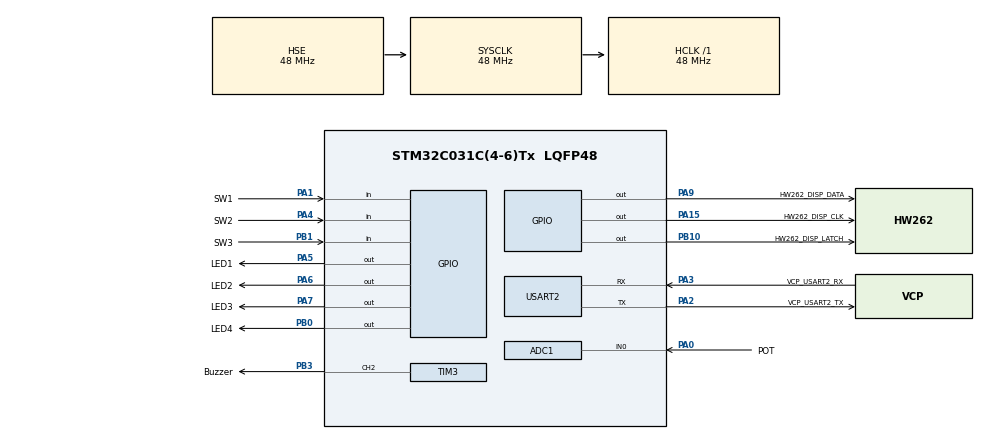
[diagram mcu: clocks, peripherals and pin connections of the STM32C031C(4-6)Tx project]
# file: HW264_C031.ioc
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ADC1.NbrOfConversionFlag=0
ADC1.SelectedChannel=ADC_CHANNEL_0
ADC1.master=1
Mcu.Family=STM32C0
Mcu.Name=STM32C031C(4-6)Tx
Mcu.Package=LQFP48
PA0.GPIO_Label=POT
PA0.Signal=SharedAnalog_PA0
PA1.GPIO_Label=SW1
PA1.Signal=GPIO_Input
PA13.GPIO_Label=DEBUG_SWDIO
PA13.Mode=Serial_Wire
PA13.Signal=DEBUG_SWDIO
PA14-BOOT0.GPIO_Label=DEBUG_SWCLK
PA14-BOOT0.Mode=Serial_Wire
PA14-BOOT0.Signal=DEBUG_SWCLK
PA15.GPIO_Label=HW262_DISP_CLK
PA15.Signal=GPIO_Output
PA2.GPIO_Label=VCP_USART2_TX
PA2.Mode=Asynchronous
PA2.Signal=USART2_TX
PA3.GPIO_Label=VCP_USART2_RX
PA3.Mode=Asynchronous
PA3.Signal=USART2_RX
PA4.GPIO_Label=SW2
PA4.Signal=GPIO_Input
PA5.GPIO_Label=LED1
PA5.PinState=GPIO_PIN_SET
PA5.Signal=GPIO_Output
PA6.GPIO_Label=LED2
PA6.PinState=GPIO_PIN_SET
PA6.Signal=GPIO_Output
PA7.GPIO_Label=LED3
PA7.PinState=GPIO_PIN_SET
PA7.Signal=GPIO_Output
PA9.GPIO_Label=HW262_DISP_DATA
PA9.Signal=GPIO_Output
PB0.GPIO_Label=LED4
PB0.PinState=GPIO_PIN_SET
PB0.Signal=GPIO_Output
PB1.GPIO_Label=SW3
PB1.Signal=GPIO_Input
PB10.GPIO_Label=HW262_DISP_LATCH
PB10.Signal=GPIO_Output
PB3.GPIO_Label=Buzzer
PB3.PinState=GPIO_PIN_SET
PB3.Signal=S_TIM3_CH2
PC14-OSCX_IN\ (PC14).GPIO_Label=RCC_OSCX_IN
PC14-OSCX_IN\ (PC14).Mode=LSE-External-Oscillator
PC14-OSCX_IN\ (PC14).Signal=RCC_OSCX_IN
PC15-OSCX_OUT\ (PC15).GPIO_Label=RCC_OSCX_OUT
PC15-OSCX_OUT\ (PC15).Mode=LSE-External-Oscillator
PC15-OSCX_OUT\ (PC15).Signal=RCC_OSCX_OUT
PF0-OSC_IN\ (PF0).GPIO_Label=RCC_OSC_IN
PF0-OSC_IN\ (PF0).Mode=HSE-External-Oscillator
PF0-OSC_IN\ (PF0).Signal=RCC_OSC_IN
PF1-OSC_OUT\ (PF1).GPIO_Label=RCC_OSC_OUT
PF1-OSC_OUT\ (PF1).Mode=HSE-External-Oscillator
PF1-OSC_OUT\ (PF1).Signal=RCC_OSC_OUT
ProjectManager.HeapSize=0x200
ProjectManager.StackSize=0x400
ProjectManager.TargetToolchain=CMake
RCC.ADCFreq_Value=48000000
RCC.AHBFreq_Value=48000000
RCC.CortexFreq_Value=48000000
RCC.EXTERNAL_CLOCK_VALUE=12288000
RCC.HCLKFreq_Value=48000000
RCC.HSE_VALUE=48000000
RCC.HSISYSCLKDivider=RCC_HSI_DIV1
RCC.HSI_VALUE=48000000
RCC.SYSCLKFreq_VALUE=48000000
RCC.SYSCLKSource=RCC_SYSCLKSOURCE_HSE
SH.S_TIM3_CH2.0=TIM3_CH2,PWM Generation2 CH2
SH.SharedAnalog_PA0.0=GPIO_Analog
SH.SharedAnalog_PA0.1=ADC1_IN0,IN0
TIM3.Channel-PWM\ Generation2\ CH2=TIM_CHANNEL_2
TIM3.OCPolarity_2=TIM_OCPOLARITY_LOW
TIM3.Period=500-1
TIM3.Prescaler=48-1
TIM3.Pulse-PWM\ Generation2\ CH2=250
USART2.VirtualMode-Asynchronous=VM_ASYNC
VP_TIM3_VS_ClockSourceINT.Mode=Internal
board=NUCLEO-C031C6

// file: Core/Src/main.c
/* USER CODE BEGIN Header */
/**
  ******************************************************************************
  * @file           : main.c
  * @brief          : Main program body
  ******************************************************************************
  * @attention
  *
  * Copyright (c) 2026 STMicroelectronics.
  * All rights reserved.
  *
  * This software is licensed under terms that can be found in the LICENSE file
  * in the root directory of this software component.
  * If no LICENSE file comes with this software, it is provided AS-IS.
  *
  ******************************************************************************
  */
/* USER CODE END Header */
#include "main.h"

/* USER CODE BEGIN Includes */

#include "hw262_display.h"

/* USER CODE END Includes */

/* USER CODE BEGIN PD */

#define DEMO_UPDATE_PERIOD_MS  100U
#define DEBUG_UPDATE_PERIOD_MS 500U
#define LED_COUNT              4U
#define ADC_FULL_SCALE         4095U
#define BUZZER_MIN_HZ          500U
#define BUZZER_MAX_HZ          2500U
#define BUZZER_TIMER_HZ        1000000U

/* The switches on HW-264 pull their inputs low while pressed. */
#define SWITCH_PRESSED         GPIO_PIN_RESET

/* USER CODE END PD */

ADC_HandleTypeDef hadc1;

TIM_HandleTypeDef htim3;

UART_HandleTypeDef huart2;

void SystemClock_Config(void);
static void MX_GPIO_Init(void);
static void MX_USART2_UART_Init(void);
static void MX_ADC1_Init(void);
static void MX_TIM3_Init(void);
/* USER CODE BEGIN PFP */

static uint16_t Demo_ReadAnalog(void);
static void Demo_SetLedBar(uint16_t adc_value);
static void Demo_SetAllLeds(GPIO_PinState state);
static void Demo_RunLedChase(uint32_t now);
static void Demo_SetBuzzer(uint32_t frequency_hz);
static void Debug_SendStatus(uint16_t analog_value, GPIO_PinState sw1,
                             GPIO_PinState sw2, GPIO_PinState sw3);

/* USER CODE END PFP */

int main(void)
{

  /* MCU Configuration--------------------------------------------------------*/

  /* Reset of all peripherals, Initializes the Flash interface and the Systick. */
  HAL_Init();

  /* Configure the system clock */
  SystemClock_Config();

  /* Initialize all configured peripherals */
  MX_GPIO_Init();
  MX_USART2_UART_Init();
  MX_ADC1_Init();
  MX_TIM3_Init();
  /* USER CODE BEGIN 2 */
  if (HAL_ADCEx_Calibration_Start(&hadc1) != HAL_OK)
  {
    Error_Handler();
  }
  Demo_SetAllLeds(GPIO_PIN_RESET);
  Demo_SetBuzzer(0U);
  HW262_Display_Init();
  /* USER CODE END 2 */

  /* Infinite loop */
  /* USER CODE BEGIN WHILE */
  while (1)
  {
    HW262_Display_Process();
    /* USER CODE END WHILE */

    /* USER CODE BEGIN 3 */
    static uint32_t last_update = 0U;
    uint32_t now = HAL_GetTick();

    if ((now - last_update) >= DEMO_UPDATE_PERIOD_MS)
    {
      static uint32_t last_debug_update = 0U;
      uint16_t analog_value;
      GPIO_PinState sw1;
      GPIO_PinState sw2;
      GPIO_PinState sw3;

      last_update = now;
      analog_value = Demo_ReadAnalog();
      HW262_Display_SetNumber(analog_value, false);
      sw1 = HAL_GPIO_ReadPin(SW1_GPIO_Port, SW1_Pin);
      sw2 = HAL_GPIO_ReadPin(SW2_GPIO_Port, SW2_Pin);
      sw3 = HAL_GPIO_ReadPin(SW3_GPIO_Port, SW3_Pin);

      if (sw3 == SWITCH_PRESSED)
      {
        /* SW3: pot controls the buzzer from 500 to 2500 Hz. */
        uint32_t frequency = BUZZER_MIN_HZ
                           + (((uint32_t)analog_value
                           * (BUZZER_MAX_HZ - BUZZER_MIN_HZ))
                           / ADC_FULL_SCALE);
        Demo_SetLedBar(analog_value);
        Demo_SetBuzzer(frequency);
      }
      else if (sw2 == SWITCH_PRESSED)
      {
        /* SW2: running-light test for all four LEDs. */
        Demo_SetBuzzer(0U);
        Demo_RunLedChase(now);
      }
      else if (sw1 == SWITCH_PRESSED)
      {
        /* SW1: turn on all LEDs. */
        Demo_SetBuzzer(0U);
        Demo_SetAllLeds(GPIO_PIN_SET);
      }
      else
      {
        /* Default: show the potentiometer value as an LED bar. */
        Demo_SetBuzzer(0U);
        Demo_SetLedBar(analog_value);
      }

      if ((now - last_debug_update) >= DEBUG_UPDATE_PERIOD_MS)
      {
        last_debug_update = now;
        Debug_SendStatus(analog_value, sw1, sw2, sw3);
      }
    }
  }
  /* USER CODE END 3 */
}

void SystemClock_Config(void)
{
  RCC_OscInitTypeDef RCC_OscInitStruct = {0};
  RCC_ClkInitTypeDef RCC_ClkInitStruct = {0};

  __HAL_FLASH_SET_LATENCY(FLASH_LATENCY_1);

  /** Initializes the RCC Oscillators according to the specified parameters
  * in the RCC_OscInitTypeDef structure.
  */
  RCC_OscInitStruct.OscillatorType = RCC_OSCILLATORTYPE_HSE;
  RCC_OscInitStruct.HSEState = RCC_HSE_ON;
  if (HAL_RCC_OscConfig(&RCC_OscInitStruct) != HAL_OK)
  {
    Error_Handler();
  }

  /** Initializes the CPU, AHB and APB buses clocks
  */
  RCC_ClkInitStruct.ClockType = RCC_CLOCKTYPE_HCLK|RCC_CLOCKTYPE_SYSCLK
                              |RCC_CLOCKTYPE_PCLK1;
  RCC_ClkInitStruct.SYSCLKSource = RCC_SYSCLKSOURCE_HSE;
  RCC_ClkInitStruct.SYSCLKDivider = RCC_SYSCLK_DIV1;
  RCC_ClkInitStruct.AHBCLKDivider = RCC_HCLK_DIV1;
  RCC_ClkInitStruct.APB1CLKDivider = RCC_APB1_DIV1;

  if (HAL_RCC_ClockConfig(&RCC_ClkInitStruct, FLASH_LATENCY_1) != HAL_OK)
  {
    Error_Handler();
  }
}

static void MX_ADC1_Init(void)
{

  ADC_ChannelConfTypeDef sConfig = {0};

  /** Configure the global features of the ADC (Clock, Resolution, Data Alignment and number of conversion)
  */
  hadc1.Instance = ADC1;
  hadc1.Init.ClockPrescaler = ADC_CLOCK_SYNC_PCLK_DIV2;
  hadc1.Init.Resolution = ADC_RESOLUTION_12B;
  hadc1.Init.DataAlign = ADC_DATAALIGN_RIGHT;
  hadc1.Init.ScanConvMode = ADC_SCAN_SEQ_FIXED;
  hadc1.Init.EOCSelection = ADC_EOC_SINGLE_CONV;
  hadc1.Init.LowPowerAutoWait = DISABLE;
  hadc1.Init.LowPowerAutoPowerOff = DISABLE;
  hadc1.Init.ContinuousConvMode = DISABLE;
  hadc1.Init.NbrOfConversion = 1;
  hadc1.Init.DiscontinuousConvMode = DISABLE;
  hadc1.Init.ExternalTrigConv = ADC_SOFTWARE_START;
  hadc1.Init.ExternalTrigConvEdge = ADC_EXTERNALTRIGCONVEDGE_NONE;
  hadc1.Init.DMAContinuousRequests = DISABLE;
  hadc1.Init.Overrun = ADC_OVR_DATA_PRESERVED;
  hadc1.Init.SamplingTimeCommon1 = ADC_SAMPLETIME_1CYCLE_5;
  hadc1.Init.OversamplingMode = DISABLE;
  hadc1.Init.TriggerFrequencyMode = ADC_TRIGGER_FREQ_HIGH;
  if (HAL_ADC_Init(&hadc1) != HAL_OK)
  {
    Error_Handler();
  }

  /** Configure Regular Channel
  */
  sConfig.Channel = ADC_CHANNEL_0;
  sConfig.Rank = ADC_RANK_CHANNEL_NUMBER;
  if (HAL_ADC_ConfigChannel(&hadc1, &sConfig) != HAL_OK)
  {
    Error_Handler();
  }

}

static void MX_TIM3_Init(void)
{

  TIM_ClockConfigTypeDef sClockSourceConfig = {0};
  TIM_MasterConfigTypeDef sMasterConfig = {0};
  TIM_OC_InitTypeDef sConfigOC = {0};

  htim3.Instance = TIM3;
  htim3.Init.Prescaler = 48-1;
  htim3.Init.CounterMode = TIM_COUNTERMODE_UP;
  htim3.Init.Period = 500-1;
  htim3.Init.ClockDivision = TIM_CLOCKDIVISION_DIV1;
  htim3.Init.AutoReloadPreload = TIM_AUTORELOAD_PRELOAD_DISABLE;
  if (HAL_TIM_Base_Init(&htim3) != HAL_OK)
  {
    Error_Handler();
  }
  sClockSourceConfig.ClockSource = TIM_CLOCKSOURCE_INTERNAL;
  if (HAL_TIM_ConfigClockSource(&htim3, &sClockSourceConfig) != HAL_OK)
  {
    Error_Handler();
  }
  if (HAL_TIM_PWM_Init(&htim3) != HAL_OK)
  {
    Error_Handler();
  }
  sMasterConfig.MasterOutputTrigger = TIM_TRGO_RESET;
  sMasterConfig.MasterSlaveMode = TIM_MASTERSLAVEMODE_DISABLE;
  if (HAL_TIMEx_MasterConfigSynchronization(&htim3, &sMasterConfig) != HAL_OK)
  {
    Error_Handler();
  }
  sConfigOC.OCMode = TIM_OCMODE_PWM1;
  sConfigOC.Pulse = 250;
  sConfigOC.OCPolarity = TIM_OCPOLARITY_LOW;
  sConfigOC.OCFastMode = TIM_OCFAST_DISABLE;
  if (HAL_TIM_PWM_ConfigChannel(&htim3, &sConfigOC, TIM_CHANNEL_2) != HAL_OK)
  {
    Error_Handler();
  }
  HAL_TIM_MspPostInit(&htim3);

}

static void MX_USART2_UART_Init(void)
{

  huart2.Instance = USART2;
  huart2.Init.BaudRate = 115200;
  huart2.Init.WordLength = UART_WORDLENGTH_8B;
  huart2.Init.StopBits = UART_STOPBITS_1;
  huart2.Init.Parity = UART_PARITY_NONE;
  huart2.Init.Mode = UART_MODE_TX_RX;
  huart2.Init.HwFlowCtl = UART_HWCONTROL_NONE;
  huart2.Init.OverSampling = UART_OVERSAMPLING_16;
  huart2.Init.OneBitSampling = UART_ONE_BIT_SAMPLE_DISABLE;
  huart2.Init.ClockPrescaler = UART_PRESCALER_DIV1;
  huart2.AdvancedInit.AdvFeatureInit = UART_ADVFEATURE_NO_INIT;
  if (HAL_UART_Init(&huart2) != HAL_OK)
  {
    Error_Handler();
  }

}

static void MX_GPIO_Init(void)
{
  GPIO_InitTypeDef GPIO_InitStruct = {0};

  /* GPIO Ports Clock Enable */
  __HAL_RCC_GPIOC_CLK_ENABLE();
  __HAL_RCC_GPIOF_CLK_ENABLE();
  __HAL_RCC_GPIOA_CLK_ENABLE();
  __HAL_RCC_GPIOB_CLK_ENABLE();

  /*Configure GPIO pin Output Level */
  HAL_GPIO_WritePin(GPIOA, LED1_Pin|LED2_Pin|LED3_Pin, GPIO_PIN_SET);

  /*Configure GPIO pin Output Level */
  HAL_GPIO_WritePin(LED4_GPIO_Port, LED4_Pin, GPIO_PIN_SET);

  /*Configure GPIO pin Output Level */
  HAL_GPIO_WritePin(HW262_DISP_LATCH_GPIO_Port, HW262_DISP_LATCH_Pin, GPIO_PIN_RESET);

  /*Configure GPIO pin Output Level */
  HAL_GPIO_WritePin(GPIOA, HW262_DISP_DATA_Pin|HW262_DISP_CLK_Pin, GPIO_PIN_RESET);

  /*Configure GPIO pins : SW1_Pin SW2_Pin */
  GPIO_InitStruct.Pin = SW1_Pin|SW2_Pin;
  GPIO_InitStruct.Mode = GPIO_MODE_INPUT;
  GPIO_InitStruct.Pull = GPIO_NOPULL;
  HAL_GPIO_Init(GPIOA, &GPIO_InitStruct);

  /*Configure GPIO pins : LED1_Pin LED2_Pin LED3_Pin HW262_DISP_DATA_Pin
                           HW262_DISP_CLK_Pin */
  GPIO_InitStruct.Pin = LED1_Pin|LED2_Pin|LED3_Pin|HW262_DISP_DATA_Pin
                          |HW262_DISP_CLK_Pin;
  GPIO_InitStruct.Mode = GPIO_MODE_OUTPUT_PP;
  GPIO_InitStruct.Pull = GPIO_NOPULL;
  GPIO_InitStruct.Speed = GPIO_SPEED_FREQ_LOW;
  HAL_GPIO_Init(GPIOA, &GPIO_InitStruct);

  /*Configure GPIO pins : LED4_Pin HW262_DISP_LATCH_Pin */
  GPIO_InitStruct.Pin = LED4_Pin|HW262_DISP_LATCH_Pin;
  GPIO_InitStruct.Mode = GPIO_MODE_OUTPUT_PP;
  GPIO_InitStruct.Pull = GPIO_NOPULL;
  GPIO_InitStruct.Speed = GPIO_SPEED_FREQ_LOW;
  HAL_GPIO_Init(GPIOB, &GPIO_InitStruct);

  /*Configure GPIO pin : SW3_Pin */
  GPIO_InitStruct.Pin = SW3_Pin;
  GPIO_InitStruct.Mode = GPIO_MODE_INPUT;
  GPIO_InitStruct.Pull = GPIO_NOPULL;
  HAL_GPIO_Init(SW3_GPIO_Port, &GPIO_InitStruct);

}

/* USER CODE BEGIN 4 */

static uint16_t Demo_ReadAnalog(void)
{
  uint16_t value = 0U;

  if (HAL_ADC_Start(&hadc1) != HAL_OK)
  {
    Error_Handler();
  }
  if (HAL_ADC_PollForConversion(&hadc1, 5U) == HAL_OK)
  {
    value = (uint16_t)HAL_ADC_GetValue(&hadc1);
  }
  else
  {
    Error_Handler();
  }
  if (HAL_ADC_Stop(&hadc1) != HAL_OK)
  {
    Error_Handler();
  }

  return value;
}

static void Demo_WriteLed(uint32_t index, GPIO_PinState state)
{
  static GPIO_TypeDef *const ports[LED_COUNT] =
  {
    LED1_GPIO_Port, LED2_GPIO_Port, LED3_GPIO_Port, LED4_GPIO_Port
  };
  static const uint16_t pins[LED_COUNT] =
  {
    LED1_Pin, LED2_Pin, LED3_Pin, LED4_Pin
  };

  if (index < LED_COUNT)
  {
    /* LEDs are active low, so invert the logical on/off state. */
    HAL_GPIO_WritePin(ports[index], pins[index],
                      (state == GPIO_PIN_SET) ? GPIO_PIN_RESET : GPIO_PIN_SET);
  }
}

static void Demo_SetAllLeds(GPIO_PinState state)
{
  uint32_t index;

  for (index = 0U; index < LED_COUNT; index++)
  {
    Demo_WriteLed(index, state);
  }
}

static void Demo_SetLedBar(uint16_t adc_value)
{
  uint32_t index;
  uint32_t lit_leds = (((uint32_t)adc_value * LED_COUNT)
                      / (ADC_FULL_SCALE + 1U));

  /* Make full scale light all four LEDs. */
  if (adc_value >= (ADC_FULL_SCALE - 3U))
  {
    lit_leds = LED_COUNT;
  }

  for (index = 0U; index < LED_COUNT; index++)
  {
    Demo_WriteLed(index, (index < lit_leds) ? GPIO_PIN_SET : GPIO_PIN_RESET);
  }
}

static void Demo_RunLedChase(uint32_t now)
{
  uint32_t index;
  uint32_t active_led = (now / 150U) % LED_COUNT;

  for (index = 0U; index < LED_COUNT; index++)
  {
    Demo_WriteLed(index,
                  (index == active_led) ? GPIO_PIN_SET : GPIO_PIN_RESET);
  }
}

static void Demo_SetBuzzer(uint32_t frequency_hz)
{
  static uint32_t current_frequency = UINT32_MAX;

  if (frequency_hz == current_frequency)
  {
    return;
  }

  if (frequency_hz == 0U)
  {
    (void)HAL_TIM_PWM_Stop(&htim3, TIM_CHANNEL_2);
  }
  else
  {
    uint32_t period = BUZZER_TIMER_HZ / frequency_hz;

    __HAL_TIM_SET_AUTORELOAD(&htim3, period - 1U);
    __HAL_TIM_SET_COMPARE(&htim3, TIM_CHANNEL_2, period / 2U);
    if (current_frequency == 0U || current_frequency == UINT32_MAX)
    {
      __HAL_TIM_SET_COUNTER(&htim3, 0U);
      if (HAL_TIM_PWM_Start(&htim3, TIM_CHANNEL_2) != HAL_OK)
      {
        Error_Handler();
      }
    }
  }

  current_frequency = frequency_hz;
}

static char *Debug_AppendUnsigned(char *destination, uint32_t value)
{
  char reversed[10];
  uint32_t length = 0U;

  do
  {
    reversed[length++] = (char)('0' + (value % 10U));
    value /= 10U;
  } while (value != 0U);

  while (length > 0U)
  {
    *destination++ = reversed[--length];
  }

  return destination;
}

static char *Debug_AppendText(char *destination, const char *text)
{
  while (*text != '\0')
  {
    *destination++ = *text++;
  }

  return destination;
}

static void Debug_SendStatus(uint16_t analog_value, GPIO_PinState sw1,
                             GPIO_PinState sw2, GPIO_PinState sw3)
{
  char message[72];
  char *write_position = message;
  const char *mode;

  if (sw3 == SWITCH_PRESSED)
  {
    mode = "BUZZER";
  }
  else if (sw2 == SWITCH_PRESSED)
  {
    mode = "CHASE";
  }
  else if (sw1 == SWITCH_PRESSED)
  {
    mode = "ALL_LED";
  }
  else
  {
    mode = "POT_BAR";
  }

  /* ANSI: clear the terminal and move the cursor to the top-left corner. */
  write_position = Debug_AppendText(write_position, "\x1B[2J\x1B[H");
  write_position = Debug_AppendText(write_position, "ADC=");
  write_position = Debug_AppendUnsigned(write_position, analog_value);
  write_position = Debug_AppendText(write_position, " SW1=");
  *write_position++ = (sw1 == SWITCH_PRESSED) ? '1' : '0';
  write_position = Debug_AppendText(write_position, " SW2=");
  *write_position++ = (sw2 == SWITCH_PRESSED) ? '1' : '0';
  write_position = Debug_AppendText(write_position, " SW3=");
  *write_position++ = (sw3 == SWITCH_PRESSED) ? '1' : '0';
  write_position = Debug_AppendText(write_position, " MODE=");
  write_position = Debug_AppendText(write_position, mode);
  *write_position++ = '\r';
  *write_position++ = '\n';

  (void)HAL_UART_Transmit(&huart2, (uint8_t *)message,
                          (uint16_t)(write_position - message), 20U);
}

/* USER CODE END 4 */

void Error_Handler(void)
{
  __disable_irq();
  while (1)
  {
  }
}
